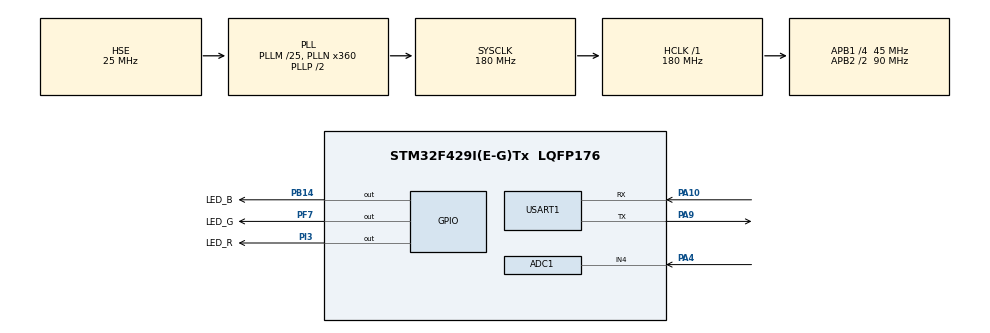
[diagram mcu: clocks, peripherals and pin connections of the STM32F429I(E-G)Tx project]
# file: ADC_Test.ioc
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ADC1.Channel-0\#ChannelRegularConversion=ADC_CHANNEL_4
ADC1.NbrOfConversionFlag=1
ADC1.Rank-0\#ChannelRegularConversion=1
ADC1.SamplingTime-0\#ChannelRegularConversion=ADC_SAMPLETIME_480CYCLES
ADC1.master=1
Mcu.Family=STM32F4
Mcu.Name=STM32F429I(E-G)Tx
Mcu.Package=LQFP176
NVIC.PriorityGroup=NVIC_PRIORITYGROUP_4
NVIC.USART1_IRQn=true\:0\:0\:false\:false\:true\:true\:true\:true
PA10.Mode=Asynchronous
PA10.Signal=USART1_RX
PA13.Mode=Serial_Wire
PA13.Signal=SYS_JTMS-SWDIO
PA14.Mode=Serial_Wire
PA14.Signal=SYS_JTCK-SWCLK
PA4.Signal=ADCx_IN4
PA9.Mode=Asynchronous
PA9.Signal=USART1_TX
PB14.GPIO_Label=LED_B
PB14.Signal=GPIO_Output
PF7.GPIO_Label=LED_G
PF7.Signal=GPIO_Output
PH0/OSC_IN.Mode=HSE-External-Oscillator
PH0/OSC_IN.Signal=RCC_OSC_IN
PH1/OSC_OUT.Mode=HSE-External-Oscillator
PH1/OSC_OUT.Signal=RCC_OSC_OUT
PI3.GPIO_Label=LED_R
PI3.Signal=GPIO_Output
ProjectManager.HeapSize=0x200
ProjectManager.StackSize=0x400
ProjectManager.TargetToolchain=STM32CubeIDE
RCC.48MHZClocksFreq_Value=90000000
RCC.AHBFreq_Value=180000000
RCC.APB1CLKDivider=RCC_HCLK_DIV4
RCC.APB1Freq_Value=45000000
RCC.APB1TimFreq_Value=90000000
RCC.APB2CLKDivider=RCC_HCLK_DIV2
RCC.APB2Freq_Value=90000000
RCC.APB2TimFreq_Value=180000000
RCC.CortexFreq_Value=180000000
RCC.HCLKFreq_Value=180000000
RCC.HSE_VALUE=25000000
RCC.HSI_VALUE=16000000
RCC.LSE_VALUE=32768
RCC.PLLM=8
RCC.PLLN=180
RCC.SYSCLKFreq_VALUE=180000000
RCC.SYSCLKSource=RCC_SYSCLKSOURCE_PLLCLK
RCC.VCOOutputFreq_Value=360000000
SH.ADCx_IN4.0=ADC1_IN4,IN4
USART1.VirtualMode=VM_ASYNC
board=custom

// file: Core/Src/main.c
/* USER CODE BEGIN Header */
/**
  ******************************************************************************
  * @file           : main.c
  * @brief          : Main program body
  ******************************************************************************
  * @attention
  *
  * Copyright (c) 2026 STMicroelectronics.
  * All rights reserved.
  *
  * This software is licensed under terms that can be found in the LICENSE file
  * in the root directory of this software component.
  * If no LICENSE file comes with this software, it is provided AS-IS.
  *
  ******************************************************************************
  */
/* USER CODE END Header */
#include "main.h"
#include "adc.h"
#include "usart.h"
#include "gpio.h"

/* USER CODE BEGIN Includes */
#include "stm32f429_winner.h"
#include "lcd.h"
#include "sdram.h"
#include "ltdc.h"
#include "delay.h"
#include "led.h"
#include <stdio.h>
/* USER CODE END Includes */

void SystemClock_Config(void);

int main(void)
{

  /* MCU Configuration--------------------------------------------------------*/

  /* Reset of all peripherals, Initializes the Flash interface and the Systick. */
  HAL_Init();

  /* Configure the system clock */
  SystemClock_Config();

  /* Initialize all configured peripherals */
  MX_GPIO_Init();
  MX_ADC1_Init();
  MX_USART1_UART_Init();
  /* USER CODE BEGIN 2 */
  SDRAM_Init();                   // 初始化SDRAM
  LCD_Init();                     // 初始化LCD
  SysTick_clkconfig(180);         // 初始化延时
  LED_Init();                     // 初始化LED
  POINT_COLOR=RED;
  LCD_ShowString(30,50,200,16,16,"STM32F429+CycloneIV");
  LCD_ShowString(30,70,200,16,16,"ADC TEST");
  LCD_ShowString(30,90,200,16,16,"LZ Electronic");
  LCD_ShowString(30,110,200,16,16,"2018/08/04");
  POINT_COLOR=BLUE;
  LCD_ShowString(30,130,200,16,16,"ADC1_CH4_VAL:");
  LCD_ShowString(30,150,200,16,16,"ADC1_CH4_VOL:0.000V");
  /* USER CODE END 2 */

  /* Infinite loop */
  /* USER CODE BEGIN WHILE */
  uint8_t Tx_Buf[32];
  u16 adcx;
  u32 mv;
  u16 volt_int, volt_frac;
  while (1)
  {
    adcx=Get_Adc_Average(ADC_CHANNEL_4,20);   // 获取通道4转换值，20次取平均
    LCD_ShowxNum(134,130,adcx,4,16,0);         // 显示ADC原始值
    // 计算电压值（量程0~10V）：adcx * 10000 / 4096 = 毫伏值
    mv = ((u32)adcx * 10000) / 4096;           // 整数计算，无浮点
    volt_int = mv / 1000;                       // 整数部分
    volt_frac = mv % 1000;                      // 小数部分（3位）
    sprintf((char *)Tx_Buf,"%d.%03dV",volt_int,volt_frac);
    LCD_ShowString(134,150,200,16,16,(char *)Tx_Buf); // 显示电压值
    printf("ADC1_CH4: %4d, VOL: %d.%03dV\r\n",adcx,volt_int,volt_frac);
    HAL_Delay(200);
    /* USER CODE END WHILE */

  }
}

void SystemClock_Config(void)
{
  RCC_OscInitTypeDef RCC_OscInitStruct = {0};
  RCC_ClkInitTypeDef RCC_ClkInitStruct = {0};

  /** Configure the main internal regulator output voltage
  */
  __HAL_RCC_PWR_CLK_ENABLE();
  __HAL_PWR_VOLTAGESCALING_CONFIG(PWR_REGULATOR_VOLTAGE_SCALE1);

  /** Initializes the RCC Oscillators according to the specified parameters
  * in the RCC_OscInitTypeDef structure.
  */
  RCC_OscInitStruct.OscillatorType = RCC_OSCILLATORTYPE_HSE;
  RCC_OscInitStruct.HSEState = RCC_HSE_ON;
  RCC_OscInitStruct.PLL.PLLState = RCC_PLL_ON;
  RCC_OscInitStruct.PLL.PLLSource = RCC_PLLSOURCE_HSE;
  RCC_OscInitStruct.PLL.PLLM = 25;
  RCC_OscInitStruct.PLL.PLLN = 360;
  RCC_OscInitStruct.PLL.PLLP = RCC_PLLP_DIV2;
  RCC_OscInitStruct.PLL.PLLQ = 8;
  if (HAL_RCC_OscConfig(&RCC_OscInitStruct) != HAL_OK)
  {
    Error_Handler();
  }

  /** Activate the Over-Drive mode
  */
  if (HAL_PWREx_EnableOverDrive() != HAL_OK)
  {
    Error_Handler();
  }

  /** Initializes the CPU, AHB and APB buses clocks
  */
  RCC_ClkInitStruct.ClockType = RCC_CLOCKTYPE_HCLK|RCC_CLOCKTYPE_SYSCLK
                              |RCC_CLOCKTYPE_PCLK1|RCC_CLOCKTYPE_PCLK2;
  RCC_ClkInitStruct.SYSCLKSource = RCC_SYSCLKSOURCE_PLLCLK;
  RCC_ClkInitStruct.AHBCLKDivider = RCC_SYSCLK_DIV1;
  RCC_ClkInitStruct.APB1CLKDivider = RCC_HCLK_DIV4;
  RCC_ClkInitStruct.APB2CLKDivider = RCC_HCLK_DIV2;

  if (HAL_RCC_ClockConfig(&RCC_ClkInitStruct, FLASH_LATENCY_5) != HAL_OK)
  {
    Error_Handler();
  }
}

/* USER CODE BEGIN 4 */
// printf重定向到USART1
#ifdef __GNUC__
#define PUTCHAR_PROTOTYPE int __io_putchar(int ch)
#else
#define PUTCHAR_PROTOTYPE int fputc(int ch, FILE *f)
#endif
PUTCHAR_PROTOTYPE
{
  HAL_UART_Transmit(&huart1, (uint8_t *)&ch, 1, 0xFFFF);
  return ch;
}
/* USER CODE END 4 */

void Error_Handler(void)
{
  __disable_irq();
  while (1)
  {
  }
}
